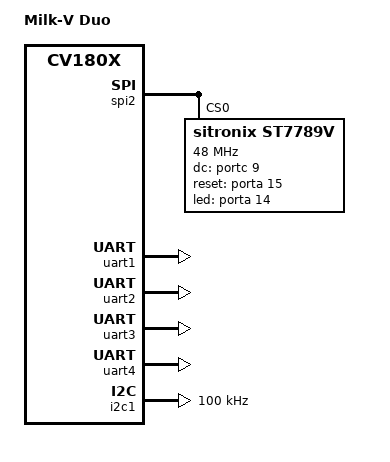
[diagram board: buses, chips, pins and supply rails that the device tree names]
/dts-v1/;
#include "cv180x_base_riscv.dtsi"
#include "cv180x_asic_qfn.dtsi"
#include "cv180x_asic_sd.dtsi"
#include "cv180x_default_memmap.dtsi"

&mipi_rx{
	snsr-reset = <&portc 8 GPIO_ACTIVE_LOW>, <&portc 8 GPIO_ACTIVE_LOW>, <&portc 8 GPIO_ACTIVE_LOW>;
};

&spi2 {
	status = "okay";

	/delete-node/ spidev@0;

	st7789v: st7789v@0{
		compatible = "sitronix,st7789v";
		reg = <0>;
		status = "okay";
		spi-max-frequency = <48000000>;
		spi-cpol;
		spi-cpha;
		rotate = <270>;
		fps = <30>;
		rgb;
		buswidth = <8>;

		dc-gpios = <&portc 9 GPIO_ACTIVE_HIGH>;     //DC/AO
		reset-gpios = <&porta 15 GPIO_ACTIVE_HIGH>; //RES
		led-gpios = <&porta 14 GPIO_ACTIVE_HIGH>;   //BL

		debug = <0x0>;
	};
};

&uart1 {
	status = "okay";
};

&uart2 {
	status = "okay";
};

&uart3 {
	status = "okay";
};

&uart4 {
	status = "okay";
};

&i2c1 {
       status = "okay";
       clock-frequency = <100000>;
};

/ {
	model = "Milk-V Duo";
};

